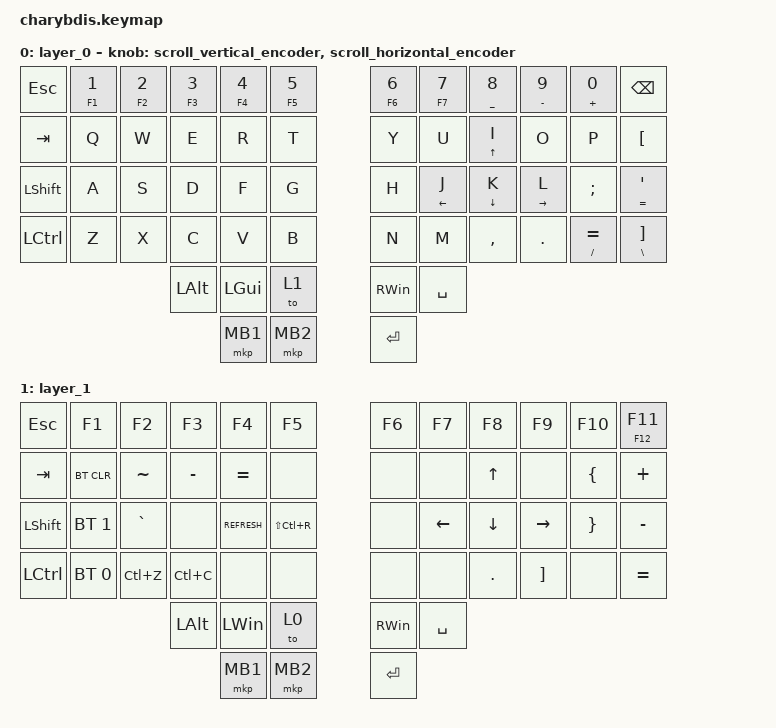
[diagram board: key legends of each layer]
#include <dt-bindings/zmk/mouse.h>
#include <input/processors.dtsi>
#include <zephyr/dt-bindings/input/input-event-codes.h>
#include <behaviors.dtsi>
#include <dt-bindings/zmk/bt.h>
#include <dt-bindings/zmk/keys.h>
#include <dt-bindings/zmk/pointing.h>
#include <dt-bindings/zmk/rgb.h>

#define ZMK_POINTING_DEFAULT_MOVE_VAL 1000 // 600
#define ZMK_POINTING_DEFAULT_SCRL_VAL 12   // 10

&lt {
    tapping-term-ms = <200>;
    flavor = "balanced";
    quick-tap-ms = <150>;
};

&mmv_input_listener { input-processors = <&zip_xy_scaler 2 1>; };

&msc_input_listener { input-processors = <&zip_scroll_scaler 2 1>; };

&msc {
    acceleration-exponent = <0>;      // 0
    time-to-max-speed-ms = <100>;       // 300
    delay-ms = <0>;                   // 0
};

&mmv {
    time-to-max-speed-ms = <500>;
    acceleration-exponent = <1>;
    trigger-period-ms = <16>;
};

/ {
    // 上下滚动编码器行为

    scroll_vertical_encoder: scroll_vertical_encoder {
        compatible = "zmk,behavior-sensor-rotate";
        #sensor-binding-cells = <0>;
        bindings = <&msc SCRL_DOWN>, <&msc SCRL_UP>;

        tap-ms = <100>;
    };

    // 左右滚动编码器行为

    scroll_horizontal_encoder: scroll_horizontal_encoder {
        compatible = "zmk,behavior-sensor-rotate";
        #sensor-binding-cells = <0>;
        bindings = <&msc SCRL_LEFT>, <&msc SCRL_RIGHT>;

        tap-ms = <100>;
    };

    behaviors {
    };

    macros {
        To1_macro: To1_macro {
            compatible = "zmk,behavior-macro";
            label = "To1_macro";
            #binding-cells = <0>;
            bindings = <&rgb_ug RGB_EFF &rgb_ug RGB_COLOR_HSB(128,100,50) &to 1>;
        };

        To1_macro_A: To1_macro_A {
            compatible = "zmk,behavior-macro";
            label = "To1_macro_A";
            #binding-cells = <0>;
            bindings = <&rgb_ug RGB_COLOR_HSB(128,100,50) &to 1>;
        };

        To0_macro: To0_macro {
            compatible = "zmk,behavior-macro";
            label = "To0_macro";
            #binding-cells = <0>;
            bindings = <&rgb_ug RGB_EFR &to 0>;
        };

        To2_macro_A: To2_macro_A {
            compatible = "zmk,behavior-macro";
            label = "To2_macro_A";
            #binding-cells = <0>;
            bindings = <&rgb_ug RGB_COLOR_HSB(250,100,50) &to 0>;
        };

        To2_macro: To2_macro {
            compatible = "zmk,behavior-macro";
            label = "To2_macro";
            #binding-cells = <0>;
            bindings = <&rgb_ug RGB_EFF &rgb_ug RGB_COLOR_HSB(250,100,50) &to 0>;
        };
    };

    combos { compatible = "zmk,combos"; };

    keymap {
        compatible = "zmk,keymap";

        layer_0 {
            bindings = <
&kp ESCAPE      &mt F1 N1  &mt F2 N2  &mt F3 N3     &mt F4 N4     &mt F5 N5    &mt F6 N6  &mt F7 N7   &mt UNDERSCORE N8  &mt MINUS N9  &mt PLUS N0     &kp BACKSPACE
&kp TAB         &kp Q      &kp W      &kp E         &kp R         &kp T        &kp Y      &kp U       &mt UP I           &kp O         &kp P           &kp LBKT
&kp LEFT_SHIFT  &kp A      &kp S      &kp D         &kp F         &kp G        &kp H      &mt LEFT J  &mt DOWN K         &mt RIGHT L   &kp SEMI        &mt EQUAL APOS
&kp LCTRL       &kp Z      &kp X      &kp C         &kp V         &kp B        &kp N      &kp M       &kp COMMA          &kp DOT       &mt FSLH EQUAL  &mt BSLH RBKT
                                      &kp LEFT_ALT  &kp LEFT_GUI  &to 1        &kp RWIN   &kp SPACE
                                                    &mkp MB1      &mkp MB2     &kp ENTER
            >;

            sensor-bindings =
                <&scroll_vertical_encoder>,
                // 编码器1：上下滚动,,,,,,,,,,,,,,,,,,
                <&scroll_horizontal_encoder>;

            // 编码器2：左右滚动
        };

        layer_1 {
            bindings = <
&kp ESC         &kp F1        &kp F2     &kp F3        &kp F4         &kp F5           &kp F6         &kp F7     &kp F8      &kp F9             &kp F10          &mt F12 F11
&kp TAB         &bt BT_CLR    &kp TILDE  &kp MINUS     &kp EQUAL      &none            &none          &none      &kp UP      &none              &kp LEFT_BRACE   &kp PLUS
&kp LEFT_SHIFT  &bt BT_SEL 1  &kp GRAVE  &none         &kp K_REFRESH  &kp LS(LC(R))    &none          &kp LEFT   &kp DOWN    &kp RIGHT          &kp RIGHT_BRACE  &kp MINUS
&kp LCTRL       &bt BT_SEL 0  &kp LC(Z)  &kp LC(C)     &none          &none            &none          &none      &kp PERIOD  &kp RIGHT_BRACKET  &none            &kp EQUAL
                                         &kp LEFT_ALT  &kp LEFT_WIN   &to 0            &kp RIGHT_WIN  &kp SPACE
                                                       &mkp MB1       &mkp MB2         &kp ENTER
            >;
        };

        /* layer_2 {
            bindings = <
&none  &none   &none    &none   &none         &none         &kp N1         &none         &none     &none  &none   &to 0
&none  &none   &none    &none   &none         &none         &none         &none          &rgb_ug RGB_BRD &rgb_ug RGB_BRI  &rgb_ug RGB_EFF   &rgb_ug RGB_TOG
&none  &none   &none    &none   &none         &none         &none         &mkp LCLK     &mkp RCLK  &none  &none   &none
&none  &none   &none    &none   &bt BT_NXT  &bt BT_CLR    &none         &none         &none     &none  &none   &none
                                   &none         &none         &none         &none         &none
                                                 &none         &none         &none
            >;
       
            
        };

       Mouse {
            bindings = <
&none        &none         &none         &none         &none      &none         &none       &none      &none         &none         &none         &none
&none        &bt BT_SEL 0  &bt BT_SEL 1  &bt BT_SEL 3  &none      &bt BT_CLR    &bt BT_CLR  &none      &bt BT_SEL 2  &bt BT_SEL 1  &bt BT_SEL 0  &none
&none        &trans        &trans        &mkp MCLK     &trans     &none         &none       &trans     &mkp MCLK     &trans        &trans        &none
&bootloader  &trans        &mkp RCLK     &mo 4         &mkp LCLK  &mo 5         &mo 5       &mkp LCLK  &mo 4         &mkp RCLK     &trans        &bootloader
                                         &mo 5         &mkp LCLK  &mkp RCLK     &mkp RCLK   &mkp LCLK
                                                       &none      &trans        &trans
            >;

            
        };

        layer_4 {
            bindings = <
&trans  &trans  &trans     &trans     &trans     &trans       &trans     &trans     &trans     &trans     &trans  &trans
&trans  &trans  &trans     &trans     &trans     &trans       &trans     &trans     &trans     &trans     &trans  &trans
&trans  &trans  &trans     &mkp MCLK  &trans     &trans       &trans     &trans     &mkp MCLK  &trans     &trans  &trans
&trans  &trans  &mkp RCLK  &trans     &mkp LCLK  &trans       &trans     &mkp LCLK  &trans     &mkp RCLK  &trans  &trans
                           &trans     &mkp LCLK  &mkp RCLK    &mkp RCLK  &mkp LCLK
                                      &trans     &trans       &trans
            >;
                
                
               
        };

        layer_5 {
            bindings = <
&trans  &trans  &trans     &trans     &trans     &trans       &trans     &trans     &trans     &trans     &trans  &trans
&trans  &trans  &trans     &trans     &trans     &trans       &trans     &trans     &trans     &trans     &trans  &trans
&trans  &trans  &trans     &mkp MCLK  &trans     &trans       &trans     &trans     &mkp MCLK  &trans     &trans  &trans
&trans  &trans  &mkp RCLK  &trans     &mkp LCLK  &trans       &trans     &mkp LCLK  &trans     &mkp RCLK  &trans  &trans
                           &trans     &mkp LCLK  &mkp RCLK    &mkp RCLK  &mkp LCLK
                                      &trans     &trans       &trans
            >;
                
                
        };*/
    };
};
